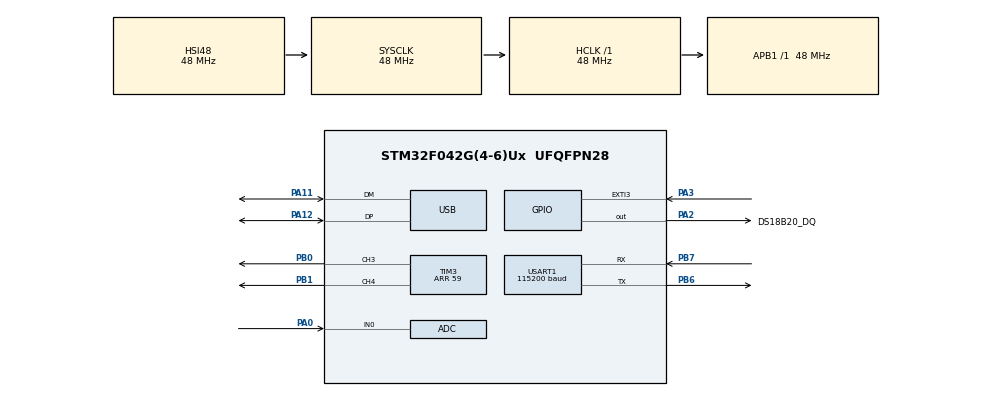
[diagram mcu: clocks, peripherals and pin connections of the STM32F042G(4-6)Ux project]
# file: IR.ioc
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ADC.Overrun=ADC_OVR_DATA_OVERWRITTEN
ADC.SamplingTime=ADC_SAMPLETIME_55CYCLES_5
Dma.Request0=TIM3_CH3
Dma.Request1=TIM3_CH4/UP
Dma.TIM3_CH3.0.Direction=DMA_MEMORY_TO_PERIPH
Dma.TIM3_CH3.0.Instance=DMA1_Channel2
Dma.TIM3_CH3.0.MemDataAlignment=DMA_MDATAALIGN_HALFWORD
Dma.TIM3_CH3.0.MemInc=DMA_MINC_ENABLE
Dma.TIM3_CH3.0.Mode=DMA_NORMAL
Dma.TIM3_CH3.0.PeriphDataAlignment=DMA_PDATAALIGN_HALFWORD
Dma.TIM3_CH3.0.PeriphInc=DMA_PINC_DISABLE
Dma.TIM3_CH3.0.Priority=DMA_PRIORITY_HIGH
Dma.TIM3_CH4/UP.1.Direction=DMA_MEMORY_TO_PERIPH
Dma.TIM3_CH4/UP.1.Instance=DMA1_Channel3
Dma.TIM3_CH4/UP.1.MemDataAlignment=DMA_MDATAALIGN_HALFWORD
Dma.TIM3_CH4/UP.1.MemInc=DMA_MINC_ENABLE
Dma.TIM3_CH4/UP.1.Mode=DMA_NORMAL
Dma.TIM3_CH4/UP.1.PeriphDataAlignment=DMA_PDATAALIGN_HALFWORD
Dma.TIM3_CH4/UP.1.PeriphInc=DMA_PINC_DISABLE
Dma.TIM3_CH4/UP.1.Priority=DMA_PRIORITY_HIGH
Mcu.Family=STM32F0
Mcu.Name=STM32F042G(4-6)Ux
Mcu.Package=UFQFPN28
NVIC.DMA1_Channel2_3_IRQn=true\:0\:0\:false\:false\:false\:false\:true\:true
NVIC.EXTI2_3_IRQn=true\:0\:0\:false\:false\:true\:true\:true\:true
PA0.Mode=IN0
PA0.Signal=ADC_IN0
PA11.Mode=Device
PA11.Signal=USB_DM
PA12.Mode=Device
PA12.Signal=USB_DP
PA13.Mode=Serial_Wire
PA13.Signal=SYS_SWDIO
PA14.Mode=Serial_Wire
PA14.Signal=SYS_SWCLK
PA2.GPIO_Label=DS18B20_DQ
PA2.GPIO_ModeDefaultOutputPP=GPIO_MODE_OUTPUT_OD
PA2.GPIO_PuPd=GPIO_NOPULL
PA2.PinState=GPIO_PIN_SET
PA2.Signal=GPIO_Output
PA3.GPIO_ModeDefaultEXTI=GPIO_MODE_IT_RISING_FALLING
PA3.Signal=GPXTI3
PB0.Signal=S_TIM3_CH3
PB1.Signal=S_TIM3_CH4
PB6.Mode=Asynchronous
PB6.Signal=USART1_TX
PB7.Mode=Asynchronous
PB7.Signal=USART1_RX
ProjectManager.HeapSize=0x200
ProjectManager.StackSize=0x400
ProjectManager.TargetToolchain=MDK-ARM V5.32
RCC.AHBFreq_Value=48000000
RCC.APB1Freq_Value=48000000
RCC.APB1TimFreq_Value=48000000
RCC.HCLKFreq_Value=48000000
RCC.SYSCLKFreq_VALUE=48000000
RCC.SYSCLKSource=RCC_SYSCLKSOURCE_HSI48
SH.S_TIM3_CH3.0=TIM3_CH3,PWM Generation3 CH3
SH.S_TIM3_CH4.0=TIM3_CH4,PWM Generation4 CH4
TIM1.ClockDivision=TIM_CLOCKDIVISION_DIV2
TIM1.Period=59
TIM14.Prescaler=47
TIM3.Channel-PWM\ Generation3\ CH3=TIM_CHANNEL_3
TIM3.Channel-PWM\ Generation4\ CH4=TIM_CHANNEL_4
TIM3.Period=59
USART1.BaudRate=115200
USART1.VirtualMode-Asynchronous=VM_ASYNC
VP_SYS_VS_PINREMAP.Mode=PINREMAP
VP_TIM14_VS_ClockSourceINT.Mode=Enable_Timer
VP_TIM1_VS_ClockSourceINT.Mode=Internal
VP_TIM3_VS_ClockSourceINT.Mode=Internal
board=custom

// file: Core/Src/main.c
/* USER CODE BEGIN Header */
/**
  ******************************************************************************
  * @file           : main.c
  * @brief          : Main program body
  ******************************************************************************
  * @attention
  *
  * Copyright (c) 2026 STMicroelectronics.
  * All rights reserved.
  *
  * This software is licensed under terms that can be found in the LICENSE file
  * in the root directory of this software component.
  * If no LICENSE file comes with this software, it is provided AS-IS.
  *
  ******************************************************************************
  */
/* USER CODE END Header */
#include "main.h"
#include "adc.h"
#include "dma.h"
#include "tim.h"
#include "usart.h"
#include "usb.h"
#include "gpio.h"

/* USER CODE BEGIN PTD */

typedef struct
{
  uint8_t code;
  const char *name;
} IR_KeyMapEntry;

/* USER CODE END PTD */

/* USER CODE BEGIN PD */

#define IR_CAPTURE_MAX_EDGES       70U
#define IR_FRAME_GAP_MS            15U

#define NEC_USER_BYTE_0            0x00U
#define NEC_USER_BYTE_1            0xFFU

#define NEC_LEADER_LOW_MIN_US      8000U
#define NEC_LEADER_LOW_MAX_US      10000U
#define NEC_LEADER_HIGH_MIN_US     3500U
#define NEC_LEADER_HIGH_MAX_US     5500U
#define NEC_BIT_LOW_MIN_US         350U
#define NEC_BIT_LOW_MAX_US         800U
#define NEC_ZERO_HIGH_MIN_US       350U
#define NEC_ZERO_HIGH_MAX_US       900U
#define NEC_ONE_HIGH_MIN_US        1200U
#define NEC_ONE_HIGH_MAX_US        2100U

/* USER CODE END PD */

/* USER CODE BEGIN PV */

/* The EXTI callback writes pulse widths; the main loop decodes them. */
static volatile uint16_t ir_duration_us[IR_CAPTURE_MAX_EDGES];
static volatile uint8_t ir_level[IR_CAPTURE_MAX_EDGES];
static volatile uint16_t ir_edge_count;
static volatile uint8_t ir_capturing;
static volatile uint8_t ir_frame_ready;
static volatile uint8_t ir_capture_overflow;
static volatile uint16_t ir_last_timer;
static volatile uint32_t ir_last_edge_ms;

static const IR_KeyMapEntry ir_key_map[] =
{
  {0x45U, "POWER"},
  {0x47U, "MENU"},
  {0x44U, "TEST"},
  {0x40U, "+"},
  {0x43U, "RETURN"},
  {0x07U, "LEFT"},
  {0x15U, "PLAY"},
  {0x09U, "RIGHT"},
  {0x16U, "0"},
  {0x19U, "-"},
  {0x0DU, "C"},
  {0x0CU, "1"},
  {0x18U, "2"},
  {0x5EU, "3"},
  {0x08U, "4"},
  {0x1CU, "5"},
  {0x5AU, "6"},
  {0x42U, "7"},
  {0x52U, "8"},
  {0x4AU, "9"}
};

static const char *ir_last_key_name;

/* USER CODE END PV */

void SystemClock_Config(void);
/* USER CODE BEGIN PFP */

static void IR_ProcessFrame(void);
static uint8_t IR_InRange(uint16_t value, uint16_t min, uint16_t max);
static const char *IR_FindKeyName(uint8_t key_code);
static void IR_SendString(const char *text);
static void IR_SendHex8(uint8_t value);

/* USER CODE END PFP */

int main(void)
{

  /* MCU Configuration--------------------------------------------------------*/

  /* Reset of all peripherals, Initializes the Flash interface and the Systick. */
  HAL_Init();

  /* Configure the system clock */
  SystemClock_Config();

  /* Initialize all configured peripherals */
  MX_GPIO_Init();
  MX_DMA_Init();
  MX_TIM1_Init();
  MX_USART1_UART_Init();
  MX_USB_PCD_Init();
  MX_TIM3_Init();
  MX_TIM14_Init();
  MX_ADC_Init();
  /* USER CODE BEGIN 2 */

  /* TIM14 runs at 1 MHz, so one timer count is approximately 1 us. */
  if (HAL_TIM_Base_Start(&htim14) != HAL_OK)
  {
    Error_Handler();
  }

  IR_SendString("NEC recognition ready\r\n");

  /* USER CODE END 2 */

  /* Infinite loop */
  while (1)
  {

    /* No edge for 15 ms marks the end of the current NEC frame. */
    if ((ir_capturing != 0U) &&
        ((HAL_GetTick() - ir_last_edge_ms) > IR_FRAME_GAP_MS))
    {
      __disable_irq();
      if ((ir_capturing != 0U) &&
          ((HAL_GetTick() - ir_last_edge_ms) > IR_FRAME_GAP_MS))
      {
        ir_capturing = 0U;
        ir_frame_ready = 1U;
      }
      __enable_irq();
    }

    if (ir_frame_ready != 0U)
    {
      IR_ProcessFrame();
      ir_frame_ready = 0U;
    }

  }
}

void SystemClock_Config(void)
{
  RCC_OscInitTypeDef RCC_OscInitStruct = {0};
  RCC_ClkInitTypeDef RCC_ClkInitStruct = {0};
  RCC_PeriphCLKInitTypeDef PeriphClkInit = {0};

  /** Initializes the RCC Oscillators according to the specified parameters
  * in the RCC_OscInitTypeDef structure.
  */
  RCC_OscInitStruct.OscillatorType = RCC_OSCILLATORTYPE_HSI14|RCC_OSCILLATORTYPE_HSI48;
  RCC_OscInitStruct.HSI48State = RCC_HSI48_ON;
  RCC_OscInitStruct.HSI14State = RCC_HSI14_ON;
  RCC_OscInitStruct.HSI14CalibrationValue = 16;
  RCC_OscInitStruct.PLL.PLLState = RCC_PLL_NONE;
  if (HAL_RCC_OscConfig(&RCC_OscInitStruct) != HAL_OK)
  {
    Error_Handler();
  }

  /** Initializes the CPU, AHB and APB buses clocks
  */
  RCC_ClkInitStruct.ClockType = RCC_CLOCKTYPE_HCLK|RCC_CLOCKTYPE_SYSCLK
                              |RCC_CLOCKTYPE_PCLK1;
  RCC_ClkInitStruct.SYSCLKSource = RCC_SYSCLKSOURCE_HSI48;
  RCC_ClkInitStruct.AHBCLKDivider = RCC_SYSCLK_DIV1;
  RCC_ClkInitStruct.APB1CLKDivider = RCC_HCLK_DIV1;

  if (HAL_RCC_ClockConfig(&RCC_ClkInitStruct, FLASH_LATENCY_1) != HAL_OK)
  {
    Error_Handler();
  }
  PeriphClkInit.PeriphClockSelection = RCC_PERIPHCLK_USB|RCC_PERIPHCLK_USART1;
  PeriphClkInit.Usart1ClockSelection = RCC_USART1CLKSOURCE_PCLK1;
  PeriphClkInit.UsbClockSelection = RCC_USBCLKSOURCE_HSI48;

  if (HAL_RCCEx_PeriphCLKConfig(&PeriphClkInit) != HAL_OK)
  {
    Error_Handler();
  }
}

/* USER CODE BEGIN 4 */

static uint8_t IR_InRange(uint16_t value, uint16_t min, uint16_t max)
{
  return ((value >= min) && (value <= max)) ? 1U : 0U;
}

static const char *IR_FindKeyName(uint8_t key_code)
{
  uint8_t i;

  for (i = 0U; i < (sizeof(ir_key_map) / sizeof(ir_key_map[0])); i++)
  {
    if (ir_key_map[i].code == key_code)
    {
      return ir_key_map[i].name;
    }
  }

  return NULL;
}

static void IR_SendString(const char *text)
{
  while (*text != '\0')
  {
    HAL_UART_Transmit(&huart1, (uint8_t *)text, 1U, 100U);
    text++;
  }
}

static void IR_SendHex8(uint8_t value)
{
  static const char hex[] = "0123456789ABCDEF";
  uint8_t data[2];

  data[0] = (uint8_t)hex[(value >> 4) & 0x0FU];
  data[1] = (uint8_t)hex[value & 0x0FU];
  HAL_UART_Transmit(&huart1, data, 2U, 100U);
}

/*
 * PA3 is idle high. The first falling edge starts a frame. Keep this callback
 * short: only measure and store pulse widths here.
 */
void HAL_GPIO_EXTI_Callback(uint16_t GPIO_Pin)
{
  uint16_t now;
  uint16_t duration;
  uint8_t current_level;

  if (GPIO_Pin != GPIO_PIN_3)
  {
    return;
  }

  now = __HAL_TIM_GET_COUNTER(&htim14);
  current_level = (HAL_GPIO_ReadPin(GPIOA, GPIO_PIN_3) == GPIO_PIN_SET) ? 1U : 0U;

  if (ir_capturing == 0U)
  {
    if (current_level == 0U)
    {
      ir_capturing = 1U;
      ir_frame_ready = 0U;
      ir_capture_overflow = 0U;
      ir_edge_count = 0U;
      ir_last_timer = now;
      ir_last_edge_ms = HAL_GetTick();
    }
    return;
  }

  /* Unsigned subtraction handles the 16-bit timer wraparound. */
  duration = (uint16_t)(now - ir_last_timer);
  ir_last_timer = now;
  ir_last_edge_ms = HAL_GetTick();

  if (ir_edge_count < IR_CAPTURE_MAX_EDGES)
  {
    ir_duration_us[ir_edge_count] = duration;
    ir_level[ir_edge_count] = (current_level == 0U) ? 1U : 0U;
    ir_edge_count++;
  }
  else
  {
    ir_capture_overflow = 1U;
  }
}

static void IR_ProcessFrame(void)
{
  uint16_t duration[IR_CAPTURE_MAX_EDGES];
  uint8_t level[IR_CAPTURE_MAX_EDGES];
  uint16_t count;
  uint16_t i;
  uint8_t bytes[4] = {0U, 0U, 0U, 0U};
  uint8_t bit;
  uint8_t key_code;
  uint8_t key_inverse;
  const char *key_name;

  __disable_irq();
  count = ir_edge_count;
  if (count > IR_CAPTURE_MAX_EDGES)
  {
    count = IR_CAPTURE_MAX_EDGES;
  }
  for (i = 0U; i < count; i++)
  {
    duration[i] = ir_duration_us[i];
    level[i] = ir_level[i];
  }
  ir_edge_count = 0U;
  __enable_irq();

  if (ir_capture_overflow != 0U)
  {
    ir_capture_overflow = 0U;
    IR_SendString("INVALID NEC FRAME: buffer overflow\r\n");
    return;
  }

  /* A held button sends an NEC repeat frame without a new command byte. */
  if ((count >= 3U) &&
      IR_InRange(duration[0], 8000U, 10000U) &&
      IR_InRange(duration[1], 1800U, 2800U) &&
      IR_InRange(duration[2], 350U, 800U))
  {
    if (ir_last_key_name != NULL)
    {
      IR_SendString("REPEAT: ");
      IR_SendString(ir_last_key_name);
      IR_SendString("\r\n");
    }
    else
    {
      IR_SendString("REPEAT: no previous key\r\n");
    }
    return;
  }

  if (count < 66U)
  {
    IR_SendString("INVALID NEC FRAME: too short\r\n");
    return;
  }

  if ((level[0] != 0U) || (level[1] != 1U) ||
      !IR_InRange(duration[0], NEC_LEADER_LOW_MIN_US, NEC_LEADER_LOW_MAX_US) ||
      !IR_InRange(duration[1], NEC_LEADER_HIGH_MIN_US, NEC_LEADER_HIGH_MAX_US))
  {
    IR_SendString("INVALID NEC FRAME: bad leader\r\n");
    return;
  }

  for (i = 0U; i < 32U; i++)
  {
    uint16_t low_time = duration[2U + i * 2U];
    uint16_t high_time = duration[3U + i * 2U];

    if ((level[2U + i * 2U] != 0U) ||
        (level[3U + i * 2U] != 1U) ||
        !IR_InRange(low_time, NEC_BIT_LOW_MIN_US, NEC_BIT_LOW_MAX_US))
    {
      IR_SendString("INVALID NEC FRAME: bad bit timing\r\n");
      return;
    }

    if (IR_InRange(high_time, NEC_ZERO_HIGH_MIN_US, NEC_ZERO_HIGH_MAX_US))
    {
      bit = 0U;
    }
    else if (IR_InRange(high_time, NEC_ONE_HIGH_MIN_US, NEC_ONE_HIGH_MAX_US))
    {
      bit = 1U;
    }
    else
    {
      IR_SendString("INVALID NEC FRAME: bad bit width\r\n");
      return;
    }

    /* NEC sends the least significant bit of each byte first. */
    if (bit != 0U)
    {
      bytes[i / 8U] |= (uint8_t)(1U << (i % 8U));
    }
  }

  key_code = bytes[2];
  key_inverse = bytes[3];

  if ((bytes[0] != NEC_USER_BYTE_0) || (bytes[1] != NEC_USER_BYTE_1))
  {
    IR_SendString("INVALID USER CODE: 0x");
    IR_SendHex8(bytes[0]);
    IR_SendHex8(bytes[1]);
    IR_SendString("\r\n");
    return;
  }

  if ((uint8_t)(key_code ^ key_inverse) != 0xFFU)
  {
    IR_SendString("INVALID NEC FRAME: command check failed\r\n");
    return;
  }

  key_name = IR_FindKeyName(key_code);
  if (key_name == NULL)
  {
    IR_SendString("UNKNOWN: 0x");
    IR_SendHex8(key_code);
    IR_SendString("\r\n");
    return;
  }

  ir_last_key_name = key_name;
  IR_SendString("KEY: ");
  IR_SendString(key_name);
  IR_SendString("\r\n");
}

/* USER CODE END 4 */

void Error_Handler(void)
{
  __disable_irq();
  while (1)
  {
  }
}
